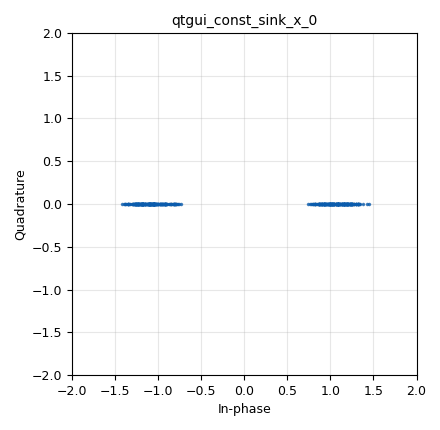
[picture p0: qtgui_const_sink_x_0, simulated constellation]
options:
  parameters:
    generate_options: qt_gui
    id: PSK_constellation
    output_language: python
    title: Not titled yet
  states: {}

blocks:
- name: samp_rate
  id: variable
  parameters:
    value: '100000'
  states: {}
- name: analog_random_uniform_source_x_0
  id: analog_random_uniform_source_x
  parameters:
    maximum: '256'
    minimum: '0'
    seed: '0'
    type: byte
  states: {}
- name: blocks_throttle2_0
  id: blocks_throttle2
  parameters:
    samples_per_second: samp_rate
    type: byte
  states: {}
- name: digital_clock_recovery_mm_xx_0
  id: digital_clock_recovery_mm_xx
  parameters:
    gain_mu: '0.175'
    gain_omega: 0.25*0.175*0.175
    mu: '0.5'
    omega: '4'
    omega_relative_limit: '0.005'
    type: complex
  states: {}
- name: digital_costas_loop_cc_0
  id: digital_costas_loop_cc
  parameters:
    order: '2'
    w: '0.05'
  states: {}
- name: digital_psk_mod_0
  id: digital_psk_mod
  parameters:
    constellation_points: '2'
    differential: 'False'
    excess_bw: '0.35'
    mod_code: '"gray"'
    samples_per_symbol: '4'
  states: {}
- name: qtgui_const_sink_x_0
  id: qtgui_const_sink_x
  parameters:
    size: '500'
    type: complex
  states: {}

connections:
- [analog_random_uniform_source_x_0, '0', blocks_throttle2_0, '0']
- [blocks_throttle2_0, '0', digital_psk_mod_0, '0']
- [digital_clock_recovery_mm_xx_0, '0', qtgui_const_sink_x_0, '0']
- [digital_costas_loop_cc_0, '0', digital_clock_recovery_mm_xx_0, '0']
- [digital_psk_mod_0, '0', digital_costas_loop_cc_0, '0']

metadata:
  file_format: 1
  grc_version: 3.10.9.2
